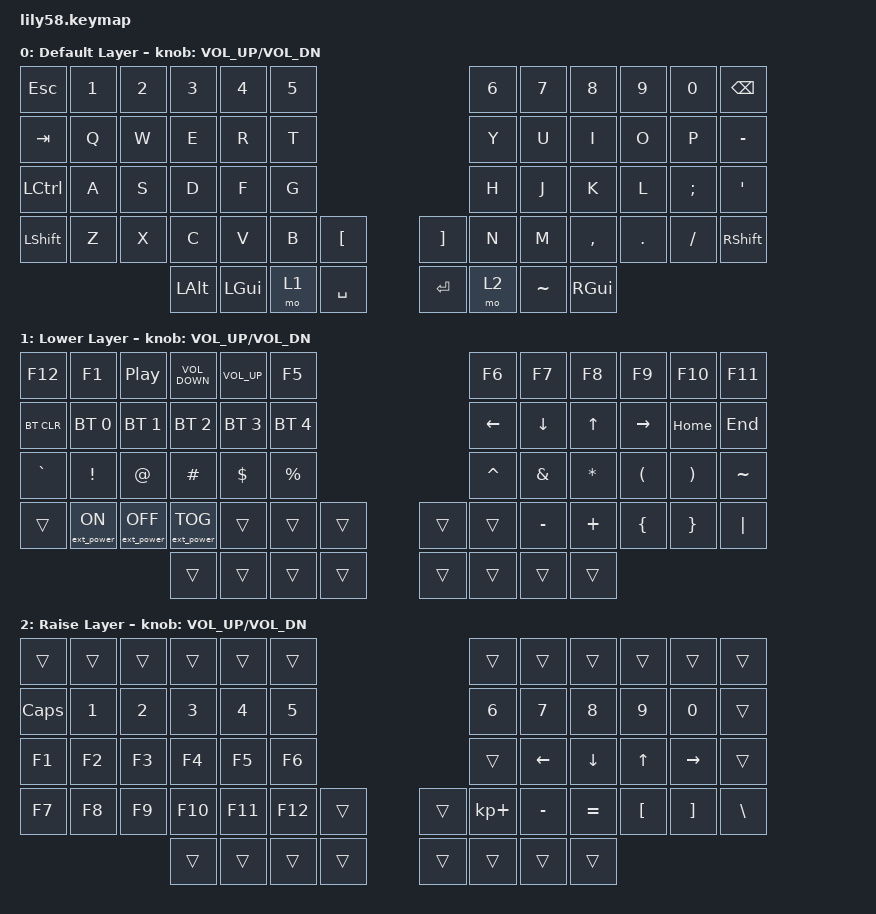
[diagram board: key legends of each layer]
/*
 * Copyright (c) 2020 The ZMK Contributors
 *
 * SPDX-License-Identifier: MIT
 */

#include <behaviors.dtsi>
#include <dt-bindings/zmk/bt.h>
#include <dt-bindings/zmk/ext_power.h>
#include <dt-bindings/zmk/keys.h>

/ {
    keymap {
        compatible = "zmk,keymap";

        default_layer {
            display-name = "Default Layer";

            // ------------------------------------------------------------------------------------------------------------
            // |  ESC  |  1  |  2  |  3   |  4   |  5   |                   |  6   |  7    |  8    |  9   |   0   |   `   |
            // |  TAB  |  Q  |  W  |  E   |  R   |  T   |                   |  Y   |  U    |  I    |  O   |   P   |   -   |
            // |  CTRL |  A  |  S  |  D   |  F   |  G   |                   |  H   |  J    |  K    |  L   |   ;   |   '   |
            // | SHIFT |  Z  |  X  |  C   |  V   |  B   |   "["  |  |  "]"  |  N   |  M    |  ,    |  .   |   /   | SHIFT |
            //                     | ALT  | GUI  | LOWER|  SPACE |  | ENTER | RAISE| BSPC  | GUI   |

            bindings = <
&kp ESC    &kp N1  &kp N2  &kp N3    &kp N4    &kp N5                                &kp N6  &kp N7     &kp N8     &kp N9   &kp N0    &kp BACKSPACE
&kp TAB    &kp Q   &kp W   &kp E     &kp R     &kp T                                 &kp Y   &kp U      &kp I      &kp O    &kp P     &kp MINUS
&kp LCTRL  &kp A   &kp S   &kp D     &kp F     &kp G                                 &kp H   &kp J      &kp K      &kp L    &kp SEMI  &kp SQT
&kp LSHFT  &kp Z   &kp X   &kp C     &kp V     &kp B   &kp LEFT_BRACKET    &kp RBKT  &kp N   &kp M      &kp COMMA  &kp DOT  &kp FSLH  &kp RSHFT
                           &kp LALT  &kp LGUI  &mo 1   &kp SPACE           &kp RET   &mo 2   &kp TILDE  &kp RGUI
            >;

            sensor-bindings = <&inc_dec_kp C_VOL_UP C_VOL_DN>;
        };

        lower_layer {
            display-name = "Lower Layer";

            // ------------------------------------------------------------------------------------------------------------
            // | BTCLR | BT1 | BT2 |  BT3 |  BT4 |  BT5 |                   |      |       |       |      |       |       |
            // |  F1   |  F2 |  F3 |  F4  |  F5  |  F6  |                   |  F7  |  F8   |  F9   |  F10 |  F11  |  F12  |
            // |   `   |  !  |  @  |  #   |  $   |  %   |                   |  ^   |  &    |  *    |  (   |   )   |   ~   |
            // |       |     |     |      |      |      |        |  |       |      |  _    |  +    |  {   |   }   |  "|"  |
            //                     |      |      |      |        |  |       |      |       |       |

            bindings = <
&kp F12     &kp F1            &kp C_PLAY_PAUSE   &kp C_VOLUME_DOWN  &kp C_VOLUME_UP  &kp F5                          &kp F6          &kp F7          &kp F8        &kp F9           &kp F10   &kp F11
&bt BT_CLR  &bt BT_SEL 0      &bt BT_SEL 1       &bt BT_SEL 2       &bt BT_SEL 3     &bt BT_SEL 4                    &kp LEFT_ARROW  &kp DOWN_ARROW  &kp UP_ARROW  &kp RIGHT_ARROW  &kp HOME  &kp END
&kp GRAVE   &kp EXCL          &kp AT             &kp HASH           &kp DOLLAR       &kp PRCNT                       &kp CARET       &kp AMPS        &kp ASTRK     &kp LPAR         &kp RPAR  &kp TILDE
&trans      &ext_power EP_ON  &ext_power EP_OFF  &ext_power EP_TOG  &trans           &trans        &trans    &trans  &trans          &kp MINUS       &kp PLUS      &kp LBRC         &kp RBRC  &kp PIPE
                                                 &trans             &trans           &trans        &trans    &trans  &trans          &trans          &trans
            >;

            sensor-bindings = <&inc_dec_kp C_VOL_UP C_VOL_DN>;
        };

        raise_layer {
            display-name = "Raise Layer";

            // ------------------------------------------------------------------------------------------------------------
            // |       |     |     |      |      |      |                   |      |       |       |      |       |       |
            // |   `   |  1  |  2  |  3   |  4   |  5   |                   |  6   |   7   |   8   |  9   |   0   |       |
            // |   F1  |  F2 |  F3 |  F4  |  F5  |  F6  |                   |      |   <-  |   v   |  ^   |  ->   |       |
            // |   F7  |  F8 |  F9 |  F10 |  F11 |  F12 |        |  |       |  +   |   -   |   =   |  [   |   ]   |   \   |
            //                     |      |      |      |        |  |       |      |       |       |

            bindings = <
&trans        &trans  &trans  &trans   &trans   &trans                     &trans       &trans     &trans     &trans    &trans     &trans
&kp CAPSLOCK  &kp N1  &kp N2  &kp N3   &kp N4   &kp N5                     &kp N6       &kp N7     &kp N8     &kp N9    &kp N0     &trans
&kp F1        &kp F2  &kp F3  &kp F4   &kp F5   &kp F6                     &trans       &kp LEFT   &kp DOWN   &kp UP    &kp RIGHT  &trans
&kp F7        &kp F8  &kp F9  &kp F10  &kp F11  &kp F12  &trans    &trans  &kp KP_PLUS  &kp MINUS  &kp EQUAL  &kp LBKT  &kp RBKT   &kp BSLH
                              &trans   &trans   &trans   &trans    &trans  &trans       &trans     &trans
            >;

            sensor-bindings = <&inc_dec_kp C_VOL_UP C_VOL_DN>;
        };
    };
};
